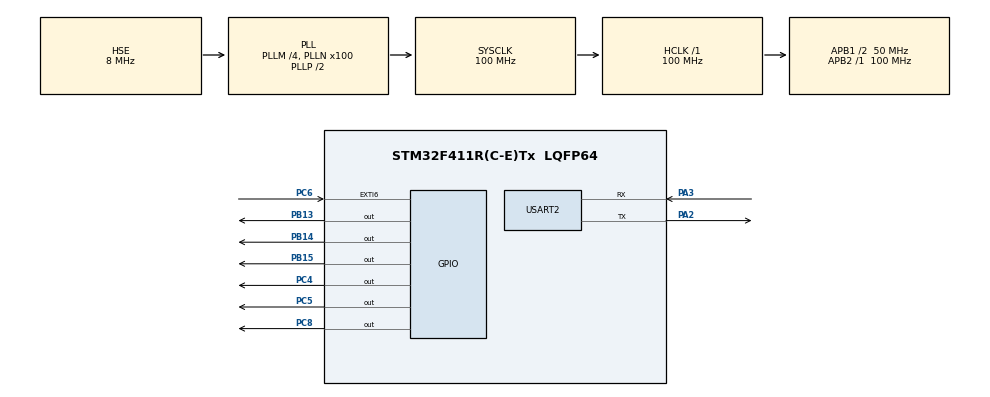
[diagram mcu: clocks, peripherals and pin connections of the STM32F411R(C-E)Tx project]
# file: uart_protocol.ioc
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Mcu.Family=STM32F4
Mcu.Name=STM32F411R(C-E)Tx
Mcu.Package=LQFP64
NVIC.EXTI9_5_IRQn=true\:0\:0\:false\:false\:true\:true\:true\:true
NVIC.PriorityGroup=NVIC_PRIORITYGROUP_4
NVIC.USART2_IRQn=true\:0\:0\:false\:false\:true\:true\:true\:true
PA13.Mode=Serial_Wire
PA13.Signal=SYS_JTMS-SWDIO
PA14.Mode=Serial_Wire
PA14.Signal=SYS_JTCK-SWCLK
PA2.Mode=Asynchronous
PA2.Signal=USART2_TX
PA3.Mode=Asynchronous
PA3.Signal=USART2_RX
PB13.Signal=GPIO_Output
PB14.Signal=GPIO_Output
PB15.Signal=GPIO_Output
PC4.Signal=GPIO_Output
PC5.Signal=GPIO_Output
PC6.GPIO_ModeDefaultEXTI=GPIO_MODE_IT_RISING_FALLING
PC6.Signal=GPXTI6
PC8.Signal=GPIO_Output
PH0\ -\ OSC_IN.Mode=HSE-External-Oscillator
PH0\ -\ OSC_IN.Signal=RCC_OSC_IN
PH1\ -\ OSC_OUT.Mode=HSE-External-Oscillator
PH1\ -\ OSC_OUT.Signal=RCC_OSC_OUT
ProjectManager.HeapSize=0x200
ProjectManager.StackSize=0x400
ProjectManager.TargetToolchain=STM32CubeIDE
RCC.48MHZClocksFreq_Value=50000000
RCC.AHBFreq_Value=100000000
RCC.APB1CLKDivider=RCC_HCLK_DIV2
RCC.APB1Freq_Value=50000000
RCC.APB1TimFreq_Value=100000000
RCC.APB2Freq_Value=100000000
RCC.APB2TimFreq_Value=100000000
RCC.CortexFreq_Value=100000000
RCC.HCLKFreq_Value=100000000
RCC.HSE_VALUE=8000000
RCC.HSI_VALUE=16000000
RCC.LSE_VALUE=32768
RCC.PLLM=4
RCC.PLLN=100
RCC.PLLSourceVirtual=RCC_PLLSOURCE_HSE
RCC.SYSCLKFreq_VALUE=100000000
RCC.SYSCLKSource=RCC_SYSCLKSOURCE_PLLCLK
RCC.VCOOutputFreq_Value=200000000
TIM10.Prescaler=100-1
USART2.VirtualMode=VM_ASYNC
VP_TIM10_VS_ClockSourceINT.Mode=Enable_Timer
board=custom

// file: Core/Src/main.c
/* USER CODE BEGIN Header */
/**
 ******************************************************************************
 * @file           : main.c
 * @brief          : Main program body
 ******************************************************************************
 * @attention
 *
 * Copyright (c) 2026 STMicroelectronics.
 * All rights reserved.
 *
 * This software is licensed under terms that can be found in the LICENSE file
 * in the root directory of this software component.
 * If no LICENSE file comes with this software, it is provided AS-IS.
 *
 ******************************************************************************
 */
/* USER CODE END Header */
#include "main.h"

/* USER CODE BEGIN Includes */
#include "driver/led/led.h"
#include "driver/uart_protocol/uart_protocol.h"
#include "driver/DHT11/DHT11.h"
#include "driver/HCSR04/HCSR04.h"

/* USER CODE END Includes */

TIM_HandleTypeDef htim10;

UART_HandleTypeDef huart2;

void SystemClock_Config(void);
static void MX_GPIO_Init(void);
static void MX_USART2_UART_Init(void);
static void MX_TIM10_Init(void);

/* USER CODE BEGIN 0 */

led_t led0, led1, led2, led3;
dht11_data_t TH_data;
uint8_t distStartFlag = 0;

void packet_doFunc(uint8_t cmd, uint8_t *payload, uint8_t payload_len) {
	switch (cmd) {
	case CMD_LED0_SET: {
		// led 0 control
		// cmd = 0x10, payload = 1/0 (len = 1byte)
		// payload == 1 -> led on / payload == 0 -> led off
		uint8_t tx_payload = 0;

		if (payload_len >= 1) {
			if (payload[0] == 1) {
				led_on(&led0);
			} else {
				led_off(&led0);
			}
			tx_payload = RSP_OK;
		} else {
			tx_payload = RSP_ERROR;
		}

		UART_protocol_send(cmd + CMD_RSP_BASE, &tx_payload, 1);

		break;
	}
	case CMD_LED1_SET: {
		// led 1 control
		uint8_t tx_payload = 0;

		if (payload_len >= 1) {
			if (payload[0] == 1) {
				led_on(&led1);
			} else {
				led_off(&led1);
			}
			tx_payload = RSP_OK;
		} else {
			tx_payload = RSP_ERROR;
		}
		UART_protocol_send(cmd + CMD_RSP_BASE, &tx_payload, 1);
		break;
	}
	case CMD_LED2_SET: {
		// led 2 control
		uint8_t tx_payload = 0;
		if (payload_len >= 1) {
			if (payload[0] == 1) {
				led_on(&led2);
			} else {
				led_off(&led2);
			}
			tx_payload = RSP_OK;
		} else {
			tx_payload = RSP_ERROR;
		}
		UART_protocol_send(cmd + CMD_RSP_BASE, &tx_payload, 1);
		break;
	}
	case CMD_LED3_SET: {
		// led 3 control
		uint8_t tx_payload = 0;
		if (payload_len >= 1) {
			if (payload[0] == 1) {
				led_on(&led3);
			} else {
				led_off(&led3);
			}
			tx_payload = RSP_OK;
		} else {
			tx_payload = RSP_ERROR;
		}
		UART_protocol_send(cmd + CMD_RSP_BASE, &tx_payload, 1);
		break;
	}
	case CMD_LED_STATUS_REQ: {
		// led 0~3 state
		uint8_t tx_payload[4] = { 0, };
		led_t *led[] = { &led0, &led1, &led2, &led3 };
		for (int i = 0; i < 4; i++) {
			tx_payload[i] = (uint8_t) ((led_getState(led[i])) ? 1 : 0);
		}
		UART_protocol_send(cmd + CMD_RSP_BASE, tx_payload, 4);
		break;
	}
	case CMD_TEMP_HUMID_REQ: {
		// temp humid req
		dht11_status_t s = dht11_read(&TH_data);
//
//		// 테스트용 더미 데이터
//		uint8_t d_tInt = 21;
//		uint8_t d_tDec = 1;
//		uint8_t d_hInt = 48;
//		uint8_t d_hDec = 0;

		if (s == DHT11_OK) {
			uint8_t tx_payload[] = { TH_data.t_int, TH_data.t_dec,
					TH_data.h_int, TH_data.h_dec };
			UART_protocol_send(cmd + CMD_RSP_BASE, tx_payload, 4);
		} else {
			uint8_t tx_payload = RSP_ERROR;
			UART_protocol_send(cmd + CMD_RSP_BASE, &tx_payload, 1);
		}
		break;
	}
	case CMD_DISTANCE_REQ: {
		// sr04 req
		if (distStartFlag == 0) {
			if (HCSR04_start() == HCSR04_OK) {
				distStartFlag = 1;
			} else {
				uint8_t tx_payload = RSP_ERROR;
				UART_protocol_send(CMD_DISTANCE_REQ + CMD_RSP_BASE, &tx_payload,
						1);
			}
		}

		// 테스트용 더미 데이터
//		uint16_t dummy_distance = 287; // 0x11f (01 / 1f)
//		uint8_t tx_payload[2];
//
//		tx_payload[0] = (uint8_t) (dummy_distance >> 8); 	// 상위 8bit
//		tx_payload[1] = (uint8_t) (dummy_distance & 0xff);	// 하위 8bit
//
//		UART_protocol_send(cmd + CMD_RSP_BASE, tx_payload, 2);
		break;
	}
	}
}

void HAL_UART_RxCpltCallback(UART_HandleTypeDef *huart) {
	if (huart->Instance == USART2) {
		// interrupt service
		uart_protocol_it(); // 1 byte마다 인터럽트 걸리게 해서 데이터 받겠다~
	}
}

void HAL_GPIO_EXTI_Callback(uint16_t GPIO_Pin) {
	if (GPIO_Pin == GPIO_PIN_6) {
		HCSR04_echoISR();
	}
}
/* USER CODE END 0 */

int main(void) {

	/* MCU Configuration--------------------------------------------------------*/

	/* Reset of all peripherals, Initializes the Flash interface and the Systick. */
	HAL_Init();

	/* Configure the system clock */
	SystemClock_Config();

	/* Initialize all configured peripherals */
	MX_GPIO_Init();
	MX_USART2_UART_Init();
	MX_TIM10_Init();
	/* USER CODE BEGIN 2 */
	led_init(&led0, GPIOB, GPIO_PIN_15);
	led_init(&led1, GPIOB, GPIO_PIN_14);
	led_init(&led2, GPIOB, GPIO_PIN_13);
	led_init(&led3, GPIOC, GPIO_PIN_4);

	uart_protocol_init(&huart2, packet_doFunc);
	dht11_init(GPIOC, GPIO_PIN_8);
	HCSR04_init(GPIOC, GPIO_PIN_5, GPIOC, GPIO_PIN_6, &htim10);

	/* USER CODE END 2 */

	/* Infinite loop */
	/* USER CODE BEGIN WHILE */
	while (1) {
		if (distStartFlag) {
			uint32_t dist_us = 0;
			hcsr04_status_t state = HCSR04_getResult(&dist_us);

			if (state == HCSR04_OK) {
				uint8_t tx_payload[2];
				uint32_t dist_cm = dist_us / 58;

				tx_payload[0] = (uint8_t) (dist_cm >> 8); 	// 상위 8bit
				tx_payload[1] = (uint8_t) (dist_cm & 0xff);	// 하위 8bit

				UART_protocol_send(CMD_DISTANCE_REQ + CMD_RSP_BASE, tx_payload,
						2);
				distStartFlag = 0;
			} else if (state == HCSR04_ERR_NO_ECHO) {
				uint8_t tx_payload = RSP_ERROR;
				UART_protocol_send(CMD_DISTANCE_REQ + CMD_RSP_BASE, &tx_payload,
						1);
				distStartFlag = 0;
			}
		}

		/* USER CODE END WHILE */

	}
}

void SystemClock_Config(void) {
	RCC_OscInitTypeDef RCC_OscInitStruct = { 0 };
	RCC_ClkInitTypeDef RCC_ClkInitStruct = { 0 };

	/** Configure the main internal regulator output voltage
	 */
	__HAL_RCC_PWR_CLK_ENABLE();
	__HAL_PWR_VOLTAGESCALING_CONFIG(PWR_REGULATOR_VOLTAGE_SCALE1);

	/** Initializes the RCC Oscillators according to the specified parameters
	 * in the RCC_OscInitTypeDef structure.
	 */
	RCC_OscInitStruct.OscillatorType = RCC_OSCILLATORTYPE_HSE;
	RCC_OscInitStruct.HSEState = RCC_HSE_ON;
	RCC_OscInitStruct.PLL.PLLState = RCC_PLL_ON;
	RCC_OscInitStruct.PLL.PLLSource = RCC_PLLSOURCE_HSE;
	RCC_OscInitStruct.PLL.PLLM = 4;
	RCC_OscInitStruct.PLL.PLLN = 100;
	RCC_OscInitStruct.PLL.PLLP = RCC_PLLP_DIV2;
	RCC_OscInitStruct.PLL.PLLQ = 4;
	if (HAL_RCC_OscConfig(&RCC_OscInitStruct) != HAL_OK) {
		Error_Handler();
	}

	/** Initializes the CPU, AHB and APB buses clocks
	 */
	RCC_ClkInitStruct.ClockType = RCC_CLOCKTYPE_HCLK | RCC_CLOCKTYPE_SYSCLK
			| RCC_CLOCKTYPE_PCLK1 | RCC_CLOCKTYPE_PCLK2;
	RCC_ClkInitStruct.SYSCLKSource = RCC_SYSCLKSOURCE_PLLCLK;
	RCC_ClkInitStruct.AHBCLKDivider = RCC_SYSCLK_DIV1;
	RCC_ClkInitStruct.APB1CLKDivider = RCC_HCLK_DIV2;
	RCC_ClkInitStruct.APB2CLKDivider = RCC_HCLK_DIV1;

	if (HAL_RCC_ClockConfig(&RCC_ClkInitStruct, FLASH_LATENCY_3) != HAL_OK) {
		Error_Handler();
	}
}

static void MX_TIM10_Init(void) {

	htim10.Instance = TIM10;
	htim10.Init.Prescaler = 100 - 1;
	htim10.Init.CounterMode = TIM_COUNTERMODE_UP;
	htim10.Init.Period = 65535;
	htim10.Init.ClockDivision = TIM_CLOCKDIVISION_DIV1;
	htim10.Init.AutoReloadPreload = TIM_AUTORELOAD_PRELOAD_DISABLE;
	if (HAL_TIM_Base_Init(&htim10) != HAL_OK) {
		Error_Handler();
	}

}

static void MX_USART2_UART_Init(void) {

	huart2.Instance = USART2;
	huart2.Init.BaudRate = 115200;
	huart2.Init.WordLength = UART_WORDLENGTH_8B;
	huart2.Init.StopBits = UART_STOPBITS_1;
	huart2.Init.Parity = UART_PARITY_NONE;
	huart2.Init.Mode = UART_MODE_TX_RX;
	huart2.Init.HwFlowCtl = UART_HWCONTROL_NONE;
	huart2.Init.OverSampling = UART_OVERSAMPLING_16;
	if (HAL_UART_Init(&huart2) != HAL_OK) {
		Error_Handler();
	}

}

static void MX_GPIO_Init(void) {
	GPIO_InitTypeDef GPIO_InitStruct = { 0 };

	/* GPIO Ports Clock Enable */
	__HAL_RCC_GPIOH_CLK_ENABLE();
	__HAL_RCC_GPIOA_CLK_ENABLE();
	__HAL_RCC_GPIOC_CLK_ENABLE();
	__HAL_RCC_GPIOB_CLK_ENABLE();

	/*Configure GPIO pin Output Level */
	HAL_GPIO_WritePin(GPIOC, GPIO_PIN_4 | GPIO_PIN_5 | GPIO_PIN_8,
			GPIO_PIN_RESET);

	/*Configure GPIO pin Output Level */
	HAL_GPIO_WritePin(GPIOB, GPIO_PIN_13 | GPIO_PIN_14 | GPIO_PIN_15,
			GPIO_PIN_RESET);

	/*Configure GPIO pins : PC4 PC5 PC8 */
	GPIO_InitStruct.Pin = GPIO_PIN_4 | GPIO_PIN_5 | GPIO_PIN_8;
	GPIO_InitStruct.Mode = GPIO_MODE_OUTPUT_PP;
	GPIO_InitStruct.Pull = GPIO_NOPULL;
	GPIO_InitStruct.Speed = GPIO_SPEED_FREQ_LOW;
	HAL_GPIO_Init(GPIOC, &GPIO_InitStruct);

	/*Configure GPIO pins : PB13 PB14 PB15 */
	GPIO_InitStruct.Pin = GPIO_PIN_13 | GPIO_PIN_14 | GPIO_PIN_15;
	GPIO_InitStruct.Mode = GPIO_MODE_OUTPUT_PP;
	GPIO_InitStruct.Pull = GPIO_NOPULL;
	GPIO_InitStruct.Speed = GPIO_SPEED_FREQ_LOW;
	HAL_GPIO_Init(GPIOB, &GPIO_InitStruct);

	/*Configure GPIO pin : PC6 */
	GPIO_InitStruct.Pin = GPIO_PIN_6;
	GPIO_InitStruct.Mode = GPIO_MODE_IT_RISING_FALLING;
	GPIO_InitStruct.Pull = GPIO_NOPULL;
	HAL_GPIO_Init(GPIOC, &GPIO_InitStruct);

	/* EXTI interrupt init*/
	HAL_NVIC_SetPriority(EXTI9_5_IRQn, 0, 0);
	HAL_NVIC_EnableIRQ(EXTI9_5_IRQn);

}

void Error_Handler(void) {
	__disable_irq();
	while (1) {
	}
}
